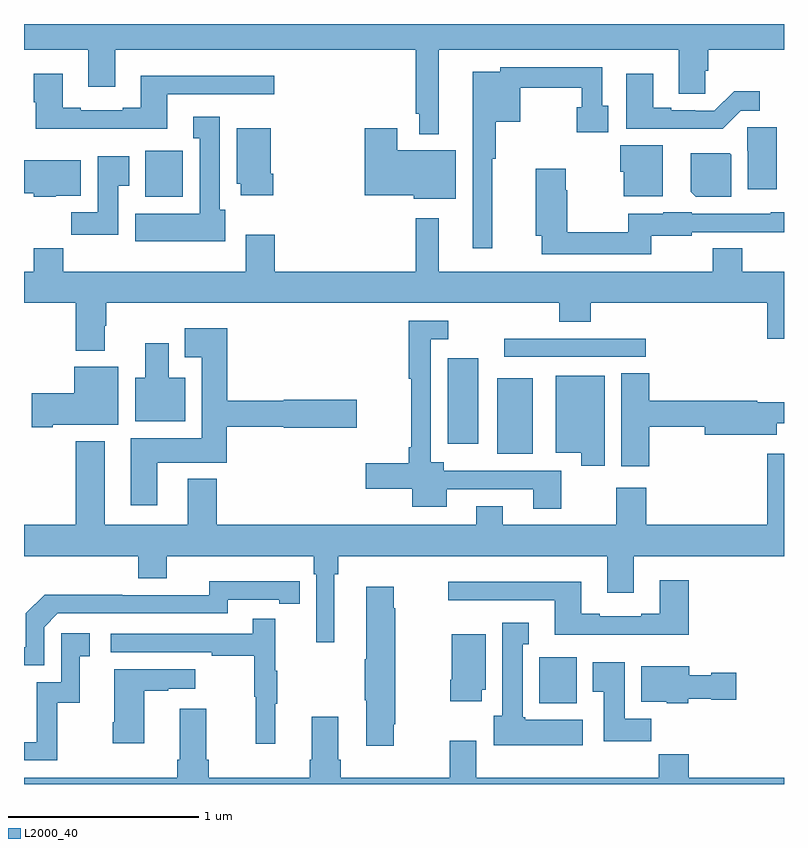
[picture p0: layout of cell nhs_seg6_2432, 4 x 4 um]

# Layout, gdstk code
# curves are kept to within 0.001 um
import gdstk
lib = gdstk.Library(unit=1e-6, precision=1e-09)
def R(c, l, rs):  # rectangles x0, y0, x1, y1
    for r in rs: c.add(gdstk.rectangle(r[:2], r[2:], *l))
def P(c, l, *ps):  # polygons
    for p in ps: c.add(gdstk.Polygon(p, *l))
L2000_40 = (2000, 40)

nhs_seg6_2432 = lib.new_cell('nhs_seg6_2432')
R(nhs_seg6_2432, L2000_40, [(259.712,915.926,259.909,916.168), (259.49,917.237,259.678,917.635), (259.229,917.292,259.39,917.74), (259.527,917.748,260.272,917.844), (257.639,918.59,257.836,918.832)])
P(nhs_seg6_2432, L2000_40, [(259.183,919.364),(260.447,919.364),(260.447,919.132),(260.586,919.132),(260.586,919.254),(260.6,919.254),(260.6,919.364),(261,919.364),(261,919.5),(257,919.5),(257,919.364),(257.339,919.364),(257.339,919.17),(257.479,919.17),(257.479,919.364),(259.062,919.364),(259.062,919.027),(259.079,919.027),(259.079,918.92),(259.183,918.92)],
  [(259.465,918.79),(259.483,918.79),(259.483,918.986),(259.612,918.986),(259.612,919.164),(259.935,919.164),(259.935,919.063),(259.909,919.063),(259.909,918.929),(260.074,918.929),(260.074,919.071),(260.043,919.071),(260.043,919.272),(259.506,919.272),(259.506,919.249),(259.361,919.249),(259.361,918.321),(259.465,918.321)],
  [(257.755,919.131),(258.316,919.131),(258.316,919.228),(257.615,919.228),(257.615,919.06),(257.519,919.06),(257.519,919.047),(257.299,919.047),(257.299,919.06),(257.203,919.06),(257.203,919.237),(257.051,919.237),(257.051,919.089),(257.063,919.089),(257.063,918.95),(257.755,918.95)],
  [(260.772,919.044),(260.872,919.044),(260.872,919.147),(260.737,919.147),(260.634,919.044),(260.534,919.044),(260.534,919.047),(260.407,919.047),(260.407,919.06),(260.311,919.06),(260.311,919.237),(260.171,919.237),(260.171,918.95),(260.677,918.95)],
  [(258.058,918.522),(258.031,918.522),(258.031,919.012),(257.891,919.012),(257.891,918.899),(257.924,918.899),(257.924,918.502),(257.585,918.502),(257.585,918.356),(258.058,918.356)],
  [(260.962,918.957),(260.806,918.957),(260.806,918.834),(260.81,918.834),(260.81,918.63),(260.962,918.63)],
  [(259.273,918.835),(258.964,918.835),(258.964,918.952),(258.794,918.952),(258.794,918.599),(259.05,918.599),(259.05,918.581),(259.273,918.581)],
  [(258.311,918.712),(258.298,918.712),(258.298,918.952),(258.119,918.952),(258.119,918.66),(258.14,918.66),(258.14,918.6),(258.311,918.6)],
  [(260.362,918.862),(260.138,918.862),(260.138,918.723),(260.156,918.723),(260.156,918.593),(260.362,918.593)],
  [(260.722,918.812),(260.714,918.82),(260.51,918.82),(260.51,918.616),(260.536,918.59),(260.722,918.59)],
  [(257.497,918.649),(257.554,918.649),(257.554,918.805),(257.387,918.805),(257.387,918.508),(257.248,918.508),(257.248,918.39),(257.497,918.39)],
  [(257.166,918.596),(257.299,918.596),(257.299,918.784),(257,918.784),(257,918.608),(257.052,918.608),(257.052,918.59),(257.166,918.59)],
  [(260.302,918.386),(260.514,918.386),(260.514,918.405),(260.931,918.405),(260.931,918.404),(261,918.404),(261,918.508),(260.931,918.508),(260.931,918.501),(260.514,918.501),(260.514,918.508),(260.364,918.508),(260.364,918.502),(260.181,918.502),(260.181,918.404),(259.86,918.404),(259.86,918.626),(259.852,918.626),(259.852,918.739),(259.694,918.739),(259.694,918.386),(259.724,918.386),(259.724,918.288),(260.302,918.288)],
  [(257.425,917.912),(257.433,917.912),(257.433,918.032),(259.817,918.032),(259.817,917.933),(259.982,917.933),(259.982,918.032),(260.912,918.032),(260.912,917.844),(261,917.844),(261,918.196),(260.781,918.196),(260.781,918.32),(260.626,918.32),(260.626,918.196),(259.183,918.196),(259.183,918.478),(259.062,918.478),(259.062,918.196),(258.32,918.196),(258.32,918.391),(258.167,918.391),(258.167,918.196),(257.207,918.196),(257.207,918.32),(257.051,918.32),(257.051,918.196),(257,918.196),(257,918.032),(257.273,918.032),(257.273,917.78),(257.425,917.78)],
  [(259.827,917.148),(259.21,917.148),(259.21,917.194),(259.14,917.194),(259.14,917.841),(259.234,917.841),(259.234,917.937),(259.024,917.937),(259.024,917.634),(259.039,917.634),(259.039,917.272),(259.024,917.272),(259.024,917.189),(258.798,917.189),(258.798,917.054),(259.043,917.054),(259.043,916.958),(259.225,916.958),(259.225,917.052),(259.679,917.052),(259.679,916.95),(259.827,916.95)],
  [(257.701,917.192),(258.066,917.192),(258.066,917.38),(258.366,917.38),(258.366,917.375),(258.751,917.375),(258.751,917.522),(258.366,917.522),(258.366,917.516),(258.071,917.516),(258.071,917.899),(257.846,917.899),(257.846,917.747),(257.936,917.747),(257.936,917.32),(257.561,917.32),(257.561,916.968),(257.701,916.968)],
  [(257.848,917.638),(257.761,917.638),(257.761,917.821),(257.639,917.821),(257.639,917.638),(257.585,917.638),(257.585,917.408),(257.848,917.408)],
  [(257.152,917.39),(257.497,917.39),(257.497,917.695),(257.264,917.695),(257.264,917.556),(257.04,917.556),(257.04,917.378),(257.152,917.378)],
  [(260.291,917.38),(260.582,917.38),(260.582,917.338),(260.962,917.338),(260.962,917.399),(261,917.399),(261,917.509),(260.858,917.509),(260.858,917.516),(260.291,917.516),(260.291,917.663),(260.144,917.663),(260.144,917.172),(260.291,917.172)],
  [(260.056,917.65),(259.799,917.65),(259.799,917.243),(259.934,917.243),(259.934,917.175),(260.056,917.175)],
  [(257.6,916.583),(257.752,916.583),(257.752,916.7),(258.524,916.7),(258.524,916.604),(258.537,916.604),(258.537,916.245),(258.634,916.245),(258.634,916.604),(258.653,916.604),(258.653,916.7),(260.069,916.7),(260.069,916.506),(260.209,916.506),(260.209,916.7),(261,916.7),(261,917.239),(260.912,917.239),(260.912,916.864),(260.276,916.864),(260.276,917.059),(260.116,917.059),(260.116,916.864),(259.519,916.864),(259.519,916.963),(259.379,916.963),(259.379,916.864),(258.014,916.864),(258.014,917.107),(257.861,917.107),(257.861,916.864),(257.425,916.864),(257.425,917.305),(257.273,917.305),(257.273,916.864),(257,916.864),(257,916.7),(257.6,916.7)],
  [(260.498,916.573),(260.345,916.573),(260.345,916.396),(260.249,916.396),(260.249,916.383),(260.029,916.383),(260.029,916.396),(259.933,916.396),(259.933,916.564),(259.233,916.564),(259.233,916.467),(259.793,916.467),(259.793,916.286),(260.498,916.286)],
  [(257.106,916.326),(257.178,916.398),(258.072,916.398),(258.072,916.47),(258.344,916.47),(258.344,916.45),(258.452,916.45),(258.452,916.566),(257.976,916.567),(257.976,916.494),(257.516,916.494),(257.516,916.496),(257.108,916.496),(257.01,916.398),(257.01,916.221),(257,916.221),(257,916.125),(257.106,916.125)],
  [(258.946,915.814),(258.954,915.814),(258.954,916.424),(258.946,916.424),(258.946,916.537),(258.8,916.537),(258.8,916.157),(258.793,916.157),(258.793,915.94),(258.8,915.94),(258.8,915.702),(258.946,915.702)],
  [(258.323,915.923),(258.334,915.923),(258.334,916.097),(258.323,916.097),(258.323,916.369),(258.205,916.369),(258.205,916.29),(257.457,916.29),(257.457,916.194),(257.989,916.194),(257.989,916.174),(258.213,916.174),(258.213,915.96),(258.22,915.96),(258.22,915.711),(258.323,915.711)],
  [(259.942,915.838),(259.638,915.838),(259.638,915.852),(259.624,915.852),(259.624,916.235),(259.657,916.235),(259.657,916.348),(259.517,916.348),(259.517,915.858),(259.472,915.858),(259.472,915.704),(259.942,915.704)],
  [(257.176,915.927),(257.294,915.927),(257.294,916.173),(257.347,916.173),(257.347,916.294),(257.196,916.294),(257.196,916.035),(257.067,916.035),(257.067,915.72),(257,915.72),(257,915.624),(257.176,915.624)],
  [(259.408,915.996),(259.429,915.996),(259.429,916.288),(259.25,916.288),(259.25,916.048),(259.243,916.048),(259.243,915.936),(259.408,915.936)],
  [(260.3,915.844),(260.161,915.844),(260.161,916.141),(259.994,916.141),(259.994,915.985),(260.051,915.985),(260.051,915.726),(260.3,915.726)],
  [(260.496,915.95),(260.616,915.95),(260.616,915.943),(260.749,915.943),(260.749,916.085),(260.616,916.085),(260.616,916.072),(260.5,916.072),(260.5,916.12),(260.249,916.12),(260.249,915.932),(260.382,915.932),(260.382,915.926),(260.496,915.926)],
  [(257.632,915.991),(257.759,915.991),(257.759,916.001),(257.902,916.001),(257.902,916.105),(257.474,916.105),(257.474,915.826),(257.467,915.826),(257.467,915.714),(257.632,915.714)],
  [(261,915.532),(260.498,915.532),(260.498,915.656),(260.341,915.656),(260.341,915.532),(259.381,915.532),(259.381,915.727),(259.241,915.727),(259.241,915.532),(258.668,915.532),(258.668,915.628),(258.655,915.628),(258.655,915.853),(258.515,915.853),(258.515,915.628),(258.503,915.628),(258.503,915.532),(257.972,915.532),(257.972,915.628),(257.959,915.628),(257.959,915.895),(257.819,915.895),(257.819,915.628),(257.807,915.628),(257.807,915.532),(257,915.532),(257,915.5),(261,915.5)])

lib.write_gds('nhs_seg6_2432.gds')
